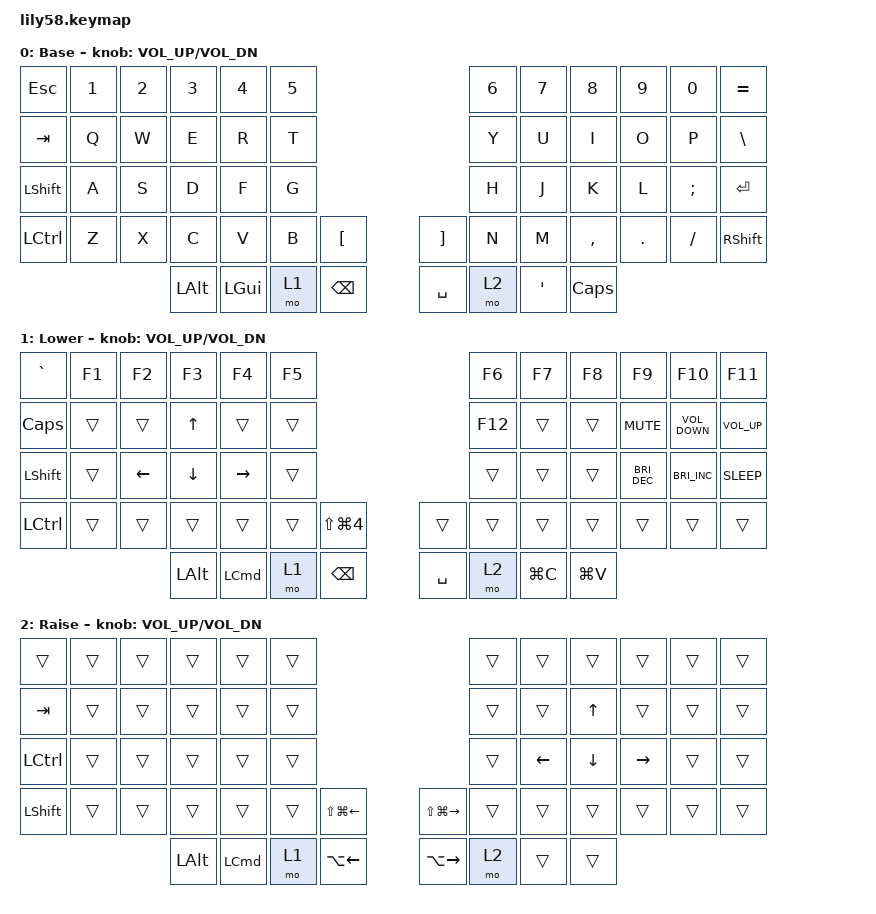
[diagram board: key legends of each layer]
/*
 * Copyright (c) 2020 The ZMK Contributors
 *
 * SPDX-License-Identifier: MIT
 */

#include <behaviors.dtsi>
#include <dt-bindings/zmk/keys.h>

/ {
    keymap {
        compatible = "zmk,keymap";

        default_layer {
            // ------------------------------------------------------------------------------------------------------------
            // |  ESC  |  1  |  2  |  3   |  4   |  5   |                   |  6   |  7    |  8    |  9   |   0   |   `   |
            // |  TAB  |  Q  |  W  |  E   |  R   |  T   |                   |  Y   |  U    |  I    |  O   |   P   |   -   |
            // |  CTRL |  A  |  S  |  D   |  F   |  G   |                   |  H   |  J    |  K    |  L   |   ;   |   '   |
            // | SHIFT |  Z  |  X  |  C   |  V   |  B   |   "["  |  |  "]"  |  N   |  M    |  ,    |  .   |   /   | SHIFT |
            //                     | ALT  | GUI  | LOWER|  SPACE |  | ENTER | RAISE| BSPC  | GUI   |

            display-name = "Base";
            bindings = <
&kp ESC           &kp N1  &kp N2  &kp N3    &kp N4    &kp N5                                         &kp N6  &kp N7   &kp N8     &kp N9   &kp N0    &kp EQUAL
&kp TAB           &kp Q   &kp W   &kp E     &kp R     &kp T                                          &kp Y   &kp U    &kp I      &kp O    &kp P     &kp BACKSLASH
&kp LEFT_SHIFT    &kp A   &kp S   &kp D     &kp F     &kp G                                          &kp H   &kp J    &kp K      &kp L    &kp SEMI  &kp RET
&kp LEFT_CONTROL  &kp Z   &kp X   &kp C     &kp V     &kp B   &kp LEFT_BRACKET    &kp RIGHT_BRACKET  &kp N   &kp M    &kp COMMA  &kp DOT  &kp FSLH  &kp RSHFT
                                  &kp LALT  &kp LGUI  &mo 1   &kp BACKSPACE       &kp SPACE          &mo 2   &kp SQT  &kp CAPS
            >;

            sensor-bindings = <&inc_dec_kp C_VOL_UP C_VOL_DN>;
        };

        lower_layer {
            // ------------------------------------------------------------------------------------------------------------
            // | BTCLR | BT1 | BT2 |  BT3 |  BT4 |  BT5 |                   |      |       |       |      |       |       |
            // |  F1   |  F2 |  F3 |  F4  |  F5  |  F6  |                   |  F7  |  F8   |  F9   |  F10 |  F11  |  F12  |
            // |   `   |  !  |  @  |  #   |  $   |  %   |                   |  ^   |  &    |  *    |  (   |   )   |   ~   |
            // |       |     |     |      |      |      |        |  |       |      |  _    |  +    |  {   |   }   |  "|"  |
            //                     |      |      |      |        |  |       |      |       |       |

            display-name = "Lower";
            bindings = <
&kp GRAVE         &kp F1  &kp F2          &kp F3          &kp F4            &kp F5                                     &kp F6   &kp F7     &kp F8     &kp F9         &kp F10               &kp F11
&kp CAPS          &trans  &trans          &kp UP_ARROW    &trans            &trans                                     &kp F12  &trans     &trans     &kp K_MUTE     &kp C_VOLUME_DOWN     &kp C_VOLUME_UP
&kp LEFT_SHIFT    &trans  &kp LEFT_ARROW  &kp DOWN_ARROW  &kp RIGHT_ARROW   &trans                                     &trans   &trans     &trans     &kp C_BRI_DEC  &kp C_BRIGHTNESS_INC  &kp K_SLEEP
&kp LEFT_CONTROL  &trans  &trans          &trans          &trans            &trans  &kp LS(LG(NUMBER_4))    &trans     &trans   &trans     &trans     &trans         &trans                &trans
                                          &kp LEFT_ALT    &kp LEFT_COMMAND  &mo 1   &kp BACKSPACE           &kp SPACE  &mo 2    &kp LG(C)  &kp LG(V)
            >;

            sensor-bindings = <&inc_dec_kp C_VOL_UP C_VOL_DN>;
        };

        raise_layer {
            // ------------------------------------------------------------------------------------------------------------
            // |       |     |     |      |      |      |                   |      |       |       |      |       |       |
            // |   `   |  1  |  2  |  3   |  4   |  5   |                   |  6   |   7   |   8   |  9   |   0   |       |
            // |   F1  |  F2 |  F3 |  F4  |  F5  |  F6  |                   |      |   <-  |   v   |  ^   |  ->   |       |
            // |   F7  |  F8 |  F9 |  F10 |  F11 |  F12 |        |  |       |  +   |   -   |   =   |  [   |   ]   |   \   |
            //                     |      |      |      |        |  |       |      |       |       |

            display-name = "Raise";
            bindings = <
&trans            &trans  &trans  &trans        &trans            &trans                                                 &trans  &trans    &trans        &trans     &trans  &trans
&kp TAB           &trans  &trans  &trans        &trans            &trans                                                 &trans  &trans    &kp UP_ARROW  &trans     &trans  &trans
&kp LEFT_CONTROL  &trans  &trans  &trans        &trans            &trans                                                 &trans  &kp LEFT  &kp DOWN      &kp RIGHT  &trans  &trans
&kp LEFT_SHIFT    &trans  &trans  &trans        &trans            &trans  &kp LS(LG(LEFT))      &kp LS(LG(RIGHT_ARROW))  &trans  &trans    &trans        &trans     &trans  &trans
                                  &kp LEFT_ALT  &kp LEFT_COMMAND  &mo 1   &kp LA(LEFT_ARROW)    &kp LA(RIGHT_ARROW)      &mo 2   &trans    &trans
            >;

            sensor-bindings = <&inc_dec_kp C_VOL_UP C_VOL_DN>;
        };
    };
};
